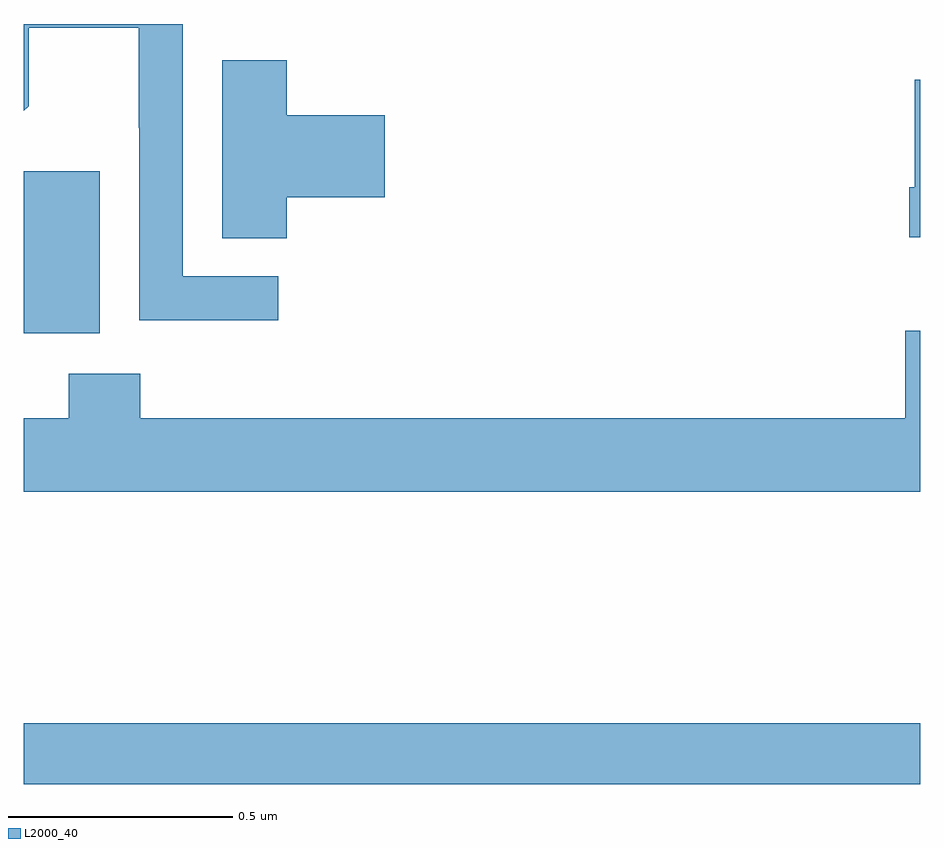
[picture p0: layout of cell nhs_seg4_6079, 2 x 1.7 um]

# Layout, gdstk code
import gdstk
lib = gdstk.Library(unit=1e-6, precision=1e-09)
def R(c, l, rs):  # rectangles x0, y0, x1, y1
    for r in rs: c.add(gdstk.rectangle(r[:2], r[2:], *l))
def P(c, l, *ps):  # polygons
    for p in ps: c.add(gdstk.Polygon(p, *l))
L2000_40 = (2000, 40)

nhs_seg4_6079 = lib.new_cell('nhs_seg4_6079')
R(nhs_seg4_6079, L2000_40, [(186,760.204,188,760.34), (186,761.21,186.169,761.571)])
P(nhs_seg4_6079, L2000_40, [(186.568,761.337),(186.354,761.337),(186.354,761.9),(186,761.9),(186,761.706),(186.011,761.717),(186.011,761.892),(186.256,761.892),(186.256,761.668),(186.258,761.668),(186.258,761.239),(186.568,761.239)],
  [(186.587,761.513),(186.805,761.513),(186.805,761.696),(186.587,761.696),(186.587,761.819),(186.443,761.819),(186.443,761.422),(186.587,761.422)],
  [(188,761.776),(187.988,761.776),(187.988,761.536),(187.976,761.536),(187.976,761.424),(188,761.424)],
  [(188,761.215),(187.967,761.215),(187.967,761.02),(186.26,761.02),(186.26,761.119),(186.1,761.119),(186.1,761.02),(186,761.02),(186,760.856),(188,760.856)])

lib.write_gds('nhs_seg4_6079.gds')
